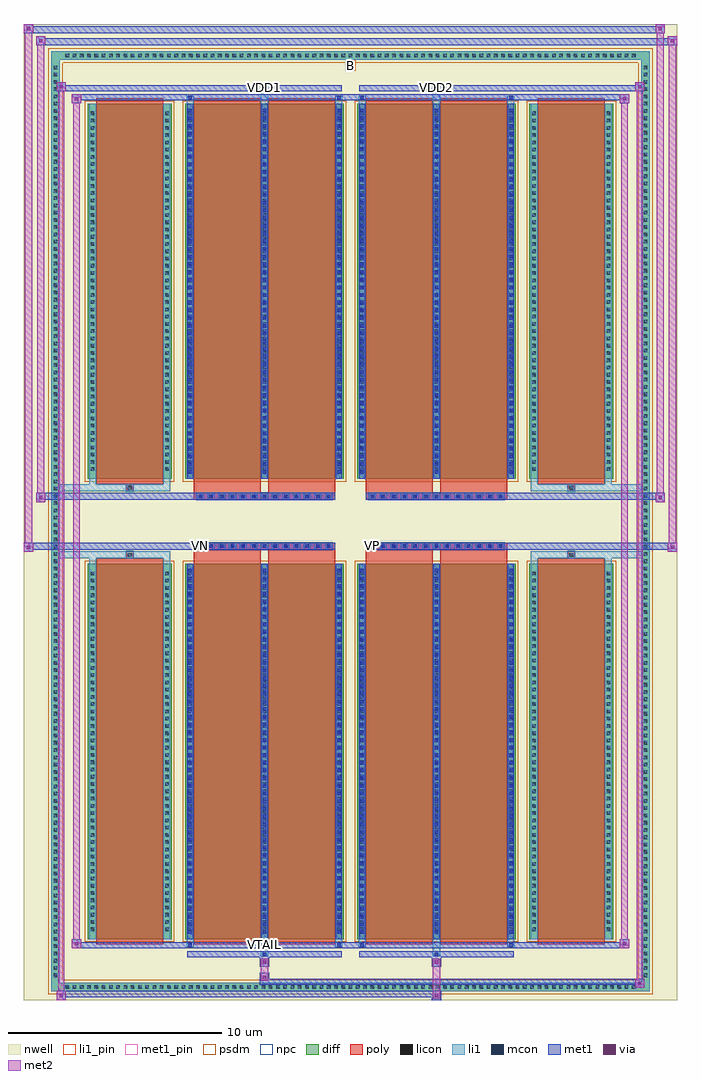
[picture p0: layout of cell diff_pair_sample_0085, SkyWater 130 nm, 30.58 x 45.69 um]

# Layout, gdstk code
import gdstk
lib = gdstk.Library(unit=1e-6, precision=5e-09)
def R(c, l, rs):  # rectangles x0, y0, x1, y1
    for r in rs: c.add(gdstk.rectangle(r[:2], r[2:], *l))
def A(c, l, x, y, w, h, nx, ny, dx, dy):  # array of equal rectangles
    R(c, l, [(x+i*dx, y+j*dy, x+i*dx+w, y+j*dy+h) for i in range(nx) for j in range(ny)])
def P(c, l, *ps):  # polygons
    for p in ps: c.add(gdstk.Polygon(p, *l))
nwell = (64, 20)
diff = (65, 20)
poly = (66, 20)
licon = (66, 44)
li1_pin = (67, 16)
li1 = (67, 20)
mcon = (67, 44)
met1_pin = (68, 16)
met1 = (68, 20)
via = (68, 44)
met2 = (69, 20)
psdm = (94, 20)
npc = (95, 20)

diff_pair_sample_0085 = lib.new_cell('diff_pair_sample_0085')
R(diff_pair_sample_0085, nwell, [(-15.29,-22.41,15.29,23.28), (-12.61,-20.6,-0.01,-0.8), (0.01,-20.6,12.61,-0.8), (-12.61,0.8,-0.01,20.6), (0.01,0.8,12.61,20.6)])
A(diff_pair_sample_0085, diff, -13.465, -22.01, 0.41, 0.41, 79, 2, 0.34, 43.61)
A(diff_pair_sample_0085, diff, -14.02, -21.455, 0.41, 0.41, 1, 126, 0, 0.34)
A(diff_pair_sample_0085, diff, 13.61, -21.455, 0.41, 0.41, 1, 126, 0, 0.34)
R(diff_pair_sample_0085, diff, [(-13.465,-22.01,13.465,-21.6), (-14.02,-21.455,-13.61,21.455), (13.61,-21.455,14.02,21.455), (-12.3,-19.555,-8.37,-1.985), (-7.73,-19.555,-0.32,-1.985), (0.32,-19.555,7.73,-1.985), (8.37,-19.555,12.3,-1.985), (-12.3,1.985,-8.37,19.555), (-7.73,1.985,-0.32,19.555), (0.32,1.985,7.73,19.555), (8.37,1.985,12.3,19.555), (-13.465,21.6,13.465,22.01)])
P(diff_pair_sample_0085, diff, [(14.02,22.01),(-14.02,22.01),(-14.02,-21.6),(-13.61,-21.6),(-13.61,21.6),(13.61,21.6),(13.61,-21.6),(-13.61,-21.6),(-14.02,-21.6),(-14.02,-22.01),(14.02,-22.01)])
A(diff_pair_sample_0085, poly, -7.19, -1.33, 0.33, 0.33, 13, 2, 0.5, 2.33)
A(diff_pair_sample_0085, poly, 0.86, -1.33, 0.33, 0.33, 13, 2, 0.5, 2.33)
R(diff_pair_sample_0085, poly, [(-11.91,-19.805,-8.76,-1.735), (-7.34,-19.805,-4.19,-1.735), (-3.86,-19.805,-0.71,-1.735), (0.71,-19.805,3.86,-1.735), (4.19,-19.805,7.34,-1.735), (8.76,-19.805,11.91,-1.735), (-10.5,-1.735,-10.17,-1.405), (-10.5,-1.735,-10.17,-1.405), (-7.34,-1.735,-4.19,-1.33), (-3.86,-1.735,-0.71,-1.33), (0.71,-1.735,3.86,-1.33), (4.19,-1.735,7.34,-1.33), (10.17,-1.735,10.5,-1.405), (10.17,-1.735,10.5,-1.405), (-7.34,-1.33,-0.71,-1), (0.71,-1.33,7.34,-1), (-7.34,1,-0.71,1.33), (0.71,1,7.34,1.33), (-7.34,1.33,-4.19,1.735), (-3.86,1.33,-0.71,1.735), (0.71,1.33,3.86,1.735), (4.19,1.33,7.34,1.735), (-10.5,1.405,-10.17,1.735), (-10.5,1.405,-10.17,1.735), (10.17,1.405,10.5,1.735), (10.17,1.405,10.5,1.735), (-11.91,1.735,-8.76,19.805), (-7.34,1.735,-4.19,19.805), (-3.86,1.735,-0.71,19.805), (0.71,1.735,3.86,19.805), (4.19,1.735,7.34,19.805), (8.76,1.735,11.91,19.805)])
A(diff_pair_sample_0085, licon, -13.345, -21.89, 0.17, 0.17, 79, 2, 0.34, 43.61)
A(diff_pair_sample_0085, licon, -13.9, -21.335, 0.17, 0.17, 1, 126, 0, 0.34)
A(diff_pair_sample_0085, licon, 13.73, -21.335, 0.17, 0.17, 1, 126, 0, 0.34)
A(diff_pair_sample_0085, licon, -12.16, -19.185, 0.17, 0.17, 1, 50, 0, 0.34)
A(diff_pair_sample_0085, licon, -8.68, -19.185, 0.17, 0.17, 1, 50, 0, 0.34)
A(diff_pair_sample_0085, licon, -7.59, -19.185, 0.17, 0.17, 3, 50, 3.48, 0.34)
A(diff_pair_sample_0085, licon, 0.46, -19.185, 0.17, 0.17, 3, 50, 3.48, 0.34)
A(diff_pair_sample_0085, licon, 8.51, -19.185, 0.17, 0.17, 1, 50, 0, 0.34)
A(diff_pair_sample_0085, licon, 11.99, -19.185, 0.17, 0.17, 1, 50, 0, 0.34)
A(diff_pair_sample_0085, licon, -7.11, -1.25, 0.17, 0.17, 13, 2, 0.5, 2.33)
A(diff_pair_sample_0085, licon, 0.94, -1.25, 0.17, 0.17, 13, 2, 0.5, 2.33)
A(diff_pair_sample_0085, licon, -12.16, 2.355, 0.17, 0.17, 1, 50, 0, 0.34)
A(diff_pair_sample_0085, licon, -8.68, 2.355, 0.17, 0.17, 1, 50, 0, 0.34)
A(diff_pair_sample_0085, licon, -7.59, 2.355, 0.17, 0.17, 3, 50, 3.48, 0.34)
A(diff_pair_sample_0085, licon, 0.46, 2.355, 0.17, 0.17, 3, 50, 3.48, 0.34)
A(diff_pair_sample_0085, licon, 8.51, 2.355, 0.17, 0.17, 1, 50, 0, 0.34)
A(diff_pair_sample_0085, licon, 11.99, 2.355, 0.17, 0.17, 1, 50, 0, 0.34)
R(diff_pair_sample_0085, licon, [(-10.42,-1.655,-10.25,-1.485), (10.25,-1.655,10.42,-1.485), (-10.42,1.485,-10.25,1.655), (10.25,1.485,10.42,1.655)])
R(diff_pair_sample_0085, li1_pin, [(-0.25,21.1,0.25,21.6)])
A(diff_pair_sample_0085, li1, -13.425, -21.97, 0.33, 0.33, 79, 2, 0.34, 43.61)
A(diff_pair_sample_0085, li1, -13.98, -21.415, 0.33, 0.33, 1, 126, 0, 0.34)
A(diff_pair_sample_0085, li1, 13.65, -21.415, 0.33, 0.33, 1, 126, 0, 0.34)
A(diff_pair_sample_0085, li1, -7.67, -19.555, 0.33, 17.57, 3, 2, 3.48, 21.54)
A(diff_pair_sample_0085, li1, 0.38, -19.555, 0.33, 17.57, 3, 2, 3.48, 21.54)
A(diff_pair_sample_0085, li1, -7.59, -19.315, 0.17, 0.17, 3, 48, 3.48, 0.36)
A(diff_pair_sample_0085, li1, -7.59, -19.315, 0.17, 17.09, 3, 2, 3.48, 21.54)
A(diff_pair_sample_0085, li1, 0.46, -19.315, 0.17, 0.17, 3, 48, 3.48, 0.36)
A(diff_pair_sample_0085, li1, 0.46, -19.315, 0.17, 17.09, 3, 2, 3.48, 21.54)
A(diff_pair_sample_0085, li1, -12.24, -19.265, 0.33, 0.33, 1, 50, 0, 0.34)
A(diff_pair_sample_0085, li1, -8.76, -19.265, 0.33, 0.33, 1, 50, 0, 0.34)
A(diff_pair_sample_0085, li1, -7.67, -19.265, 0.33, 0.33, 3, 50, 3.48, 0.34)
A(diff_pair_sample_0085, li1, 0.38, -19.265, 0.33, 0.33, 3, 50, 3.48, 0.34)
A(diff_pair_sample_0085, li1, 8.43, -19.265, 0.33, 0.33, 1, 50, 0, 0.34)
A(diff_pair_sample_0085, li1, 11.91, -19.265, 0.33, 0.33, 1, 50, 0, 0.34)
A(diff_pair_sample_0085, li1, -7.19, -1.33, 0.33, 0.33, 13, 2, 0.5, 2.33)
A(diff_pair_sample_0085, li1, 0.86, -1.33, 0.33, 0.33, 13, 2, 0.5, 2.33)
A(diff_pair_sample_0085, li1, -7.59, 2.225, 0.17, 0.17, 3, 48, 3.48, 0.36)
A(diff_pair_sample_0085, li1, 0.46, 2.225, 0.17, 0.17, 3, 48, 3.48, 0.36)
A(diff_pair_sample_0085, li1, -12.24, 2.275, 0.33, 0.33, 1, 50, 0, 0.34)
A(diff_pair_sample_0085, li1, -8.76, 2.275, 0.33, 0.33, 1, 50, 0, 0.34)
A(diff_pair_sample_0085, li1, -7.67, 2.275, 0.33, 0.33, 3, 50, 3.48, 0.34)
A(diff_pair_sample_0085, li1, 0.38, 2.275, 0.33, 0.33, 3, 50, 3.48, 0.34)
A(diff_pair_sample_0085, li1, 8.43, 2.275, 0.33, 0.33, 1, 50, 0, 0.34)
A(diff_pair_sample_0085, li1, 11.91, 2.275, 0.33, 0.33, 1, 50, 0, 0.34)
R(diff_pair_sample_0085, li1, [(-14.02,-22.01,-13.61,-21.6), (-14.02,-22.01,-13.61,-21.6), (-13.61,-22.01,13.61,-21.6), (13.61,-22.01,14.02,-21.6), (13.61,-22.01,14.02,-21.6), (-14.02,-21.6,-13.61,21.6), (13.61,-21.6,14.02,21.6), (-4.19,-20.36,-3.86,-19.555), (-4.11,-20.36,-3.94,-20.19), (3.86,-20.36,4.19,-19.555), (3.94,-20.36,4.11,-20.19), (-7.67,-19.93,-7.34,-19.555), (-7.59,-19.93,-7.42,-19.76), (-0.71,-19.93,-0.38,-19.555), (-0.63,-19.93,-0.46,-19.76), (0.38,-19.93,0.71,-19.555), (0.46,-19.93,0.63,-19.76), (7.34,-19.93,7.67,-19.555), (7.42,-19.93,7.59,-19.76), (-12.24,-19.555,-11.91,-1.985), (-8.76,-19.555,-8.43,-1.985), (8.43,-19.555,8.76,-1.985), (11.91,-19.555,12.24,-1.985), (-12.24,-1.985,-11.91,-1.405), (-8.76,-1.985,-8.43,-1.405), (8.43,-1.985,8.76,-1.405), (11.91,-1.985,12.24,-1.405), (-14.02,-1.735,-10.5,-1.405), (-12.24,-1.735,-10.5,-1.405), (-10.5,-1.735,-10.17,-1.405), (-10.17,-1.735,-8.43,-1.405), (8.43,-1.735,10.17,-1.405), (10.17,-1.735,10.5,-1.405), (10.17,-1.735,14.02,-1.405), (10.5,-1.735,12.24,-1.405), (-14.02,1.405,-10.5,1.735), (-12.24,1.405,-10.5,1.735), (-12.24,1.405,-11.91,1.985), (-10.5,1.405,-10.17,1.735), (-10.17,1.405,-8.43,1.735), (-8.76,1.405,-8.43,1.985), (8.43,1.405,10.17,1.735), (8.43,1.405,8.76,1.985), (10.17,1.405,10.5,1.735), (10.17,1.405,14.02,1.735), (10.5,1.405,12.24,1.735), (11.91,1.405,12.24,1.985), (-12.24,1.985,-11.91,19.555), (-8.76,1.985,-8.43,19.555), (8.43,1.985,8.76,19.555), (11.91,1.985,12.24,19.555), (-7.67,19.555,-7.34,19.93), (-4.19,19.555,-3.86,20.36), (-0.71,19.555,-0.38,19.93), (0.38,19.555,0.71,19.93), (3.86,19.555,4.19,20.36), (7.34,19.555,7.67,19.93), (-7.59,19.76,-7.42,19.93), (-0.63,19.76,-0.46,19.93), (0.46,19.76,0.63,19.93), (7.42,19.76,7.59,19.93), (-4.11,20.19,-3.94,20.36), (3.94,20.19,4.11,20.36), (-14.02,21.6,-13.61,22.01), (-14.02,21.6,-13.61,22.01), (-13.61,21.6,13.61,22.01), (13.61,21.6,14.02,22.01), (13.61,21.6,14.02,22.01)])
A(diff_pair_sample_0085, mcon, -7.59, -19.315, 0.17, 0.17, 3, 48, 3.48, 0.36)
A(diff_pair_sample_0085, mcon, 0.46, -19.315, 0.17, 0.17, 3, 48, 3.48, 0.36)
A(diff_pair_sample_0085, mcon, -7.11, -1.25, 0.17, 0.17, 13, 2, 0.5, 2.33)
A(diff_pair_sample_0085, mcon, 0.94, -1.25, 0.17, 0.17, 13, 2, 0.5, 2.33)
A(diff_pair_sample_0085, mcon, -7.59, 2.225, 0.17, 0.17, 3, 48, 3.48, 0.36)
A(diff_pair_sample_0085, mcon, 0.46, 2.225, 0.17, 0.17, 3, 48, 3.48, 0.36)
R(diff_pair_sample_0085, mcon, [(-4.11,-20.36,-3.94,-20.19), (3.94,-20.36,4.11,-20.19), (-7.59,-19.93,-7.42,-19.76), (-0.63,-19.93,-0.46,-19.76), (0.46,-19.93,0.63,-19.76), (7.42,-19.93,7.59,-19.76), (-7.59,19.76,-7.42,19.93), (-0.63,19.76,-0.46,19.93), (0.46,19.76,0.63,19.93), (7.42,19.76,7.59,19.93), (-4.11,20.19,-3.94,20.36), (3.94,20.19,4.11,20.36)])
R(diff_pair_sample_0085, met1_pin, [(-4.16,-19.97,-3.89,-19.7), (-7.16,-1.29,-6.89,-1.02), (0.89,-1.29,1.16,-1.02), (-4.16,20.15,-3.89,20.42), (3.89,20.15,4.16,20.42)])
A(diff_pair_sample_0085, met1, -7.65, -19.555, 0.29, 17.57, 3, 2, 3.48, 21.54)
A(diff_pair_sample_0085, met1, 0.4, -19.555, 0.29, 17.57, 3, 2, 3.48, 21.54)
A(diff_pair_sample_0085, met1, -7.65, -19.375, 0.29, 0.29, 3, 48, 3.48, 0.36)
A(diff_pair_sample_0085, met1, 0.4, -19.375, 0.29, 0.29, 3, 48, 3.48, 0.36)
A(diff_pair_sample_0085, met1, -7.17, -1.31, 0.29, 0.29, 13, 2, 0.5, 2.33)
A(diff_pair_sample_0085, met1, 0.88, -1.31, 0.29, 0.29, 13, 2, 0.5, 2.33)
A(diff_pair_sample_0085, met1, -7.65, 2.165, 0.29, 0.29, 3, 48, 3.48, 0.36)
A(diff_pair_sample_0085, met1, 0.4, 2.165, 0.29, 0.29, 3, 48, 3.48, 0.36)
R(diff_pair_sample_0085, met1, [(-13.75,-22.41,-13.32,-21.98), (3.81,-22.41,4.24,-21.98), (-13.75,-22.27,4.24,-21.98), (13.32,-21.84,13.75,-21.41), (-4.24,-21.7,13.75,-21.41), (-4.24,-21.56,-3.81,-21.13), (-4.24,-20.85,-3.81,-20.42), (3.81,-20.85,4.24,-20.42), (-7.65,-20.42,-0.4,-20.13), (-4.17,-20.42,-3.88,-20.13), (0.4,-20.42,7.65,-20.13), (3.88,-20.42,4.17,-20.13), (-13.04,-19.99,-12.61,-19.56), (-13.04,-19.99,-7.65,-19.7), (-7.65,-19.99,-7.36,-19.7), (-7.65,-19.99,-0.4,-19.7), (-0.69,-19.99,-0.4,-19.7), (-0.4,-19.99,0.4,-19.7), (0.4,-19.99,0.69,-19.7), (0.4,-19.99,7.65,-19.7), (7.36,-19.99,7.65,-19.7), (7.65,-19.99,13.04,-19.7), (12.61,-19.99,13.04,-19.56), (-15.29,-1.43,-14.86,-1), (14.86,-1.43,15.29,-1), (-15.29,-1.33,-0.71,-1), (-7.34,-1.33,-0.71,-1), (0.71,-1.33,7.34,-1), (0.71,-1.33,15.29,-1), (-14.72,0.9,-14.29,1.33), (14.29,0.9,14.72,1.33), (-14.72,1,-7.34,1.33), (-7.34,1,-0.71,1.33), (0.71,1,7.34,1.33), (7.34,1,14.72,1.33), (-13.04,19.56,-12.61,19.99), (12.61,19.56,13.04,19.99), (-13.04,19.7,-7.65,19.99), (-7.65,19.7,-7.36,19.99), (-7.65,19.7,-0.4,19.99), (-0.69,19.7,-0.4,19.99), (-0.4,19.7,0.4,19.99), (0.4,19.7,0.69,19.99), (0.4,19.7,7.65,19.99), (7.36,19.7,7.65,19.99), (7.65,19.7,13.04,19.99), (-13.75,20.13,-13.32,20.56), (-13.75,20.13,-7.65,20.42), (-7.65,20.13,-0.4,20.42), (-4.17,20.13,-3.88,20.42), (0.4,20.13,7.65,20.42), (3.88,20.13,4.17,20.42), (7.65,20.13,13.75,20.42), (13.32,20.13,13.75,20.56), (-14.72,22.28,-14.29,22.71), (-14.72,22.28,-12.61,22.61), (-12.61,22.28,12.61,22.61), (12.61,22.28,15.29,22.61), (14.86,22.28,15.29,22.71), (-15.29,22.85,-14.86,23.28), (-15.29,22.85,-12.61,23.18), (-12.61,22.85,12.61,23.18), (12.61,22.85,14.72,23.18), (14.29,22.85,14.72,23.28)])
R(diff_pair_sample_0085, via, [(-13.61,-22.27,-13.46,-22.12), (3.95,-22.27,4.1,-22.12), (13.46,-21.7,13.61,-21.55), (-4.1,-21.42,-3.95,-21.27), (-4.1,-20.71,-3.95,-20.56), (3.95,-20.71,4.1,-20.56), (-12.9,-19.85,-12.75,-19.7), (12.75,-19.85,12.9,-19.7), (-15.15,-1.29,-15,-1.14), (15,-1.29,15.15,-1.14), (-14.58,1.04,-14.43,1.19), (14.43,1.04,14.58,1.19), (-12.9,19.7,-12.75,19.85), (12.75,19.7,12.9,19.85), (-13.61,20.27,-13.46,20.42), (13.46,20.27,13.61,20.42), (-14.58,22.42,-14.43,22.57), (15,22.42,15.15,22.57), (-15.15,22.99,-15,23.14), (14.43,22.99,14.58,23.14)])
R(diff_pair_sample_0085, met2, [(-13.75,-22.41,-13.32,-21.98), (-13.68,-22.41,-13.39,20.56), (-13.39,-22.41,-13.32,-21.98), (-13.7,-22.36,-13.37,-22.03), (3.86,-22.36,4.19,-22.03), (3.86,-22.03,4.19,-20.8), (13.32,-21.84,13.75,-21.41), (13.39,-21.84,13.68,20.56), (13.68,-21.84,13.75,-21.41), (13.37,-21.79,13.7,-21.46), (-4.19,-21.51,-3.86,-21.18), (-4.19,-21.18,-3.86,-20.8), (-4.19,-20.8,-3.86,-20.47), (3.86,-20.8,4.19,-20.47), (-13.04,-19.99,-12.61,-19.56), (-12.97,-19.99,-12.68,19.99), (-12.68,-19.99,-12.61,-19.56), (12.61,-19.99,13.04,-19.56), (12.68,-19.99,12.97,19.99), (12.97,-19.99,13.04,-19.56), (-12.99,-19.94,-12.66,-19.61), (12.66,-19.94,12.99,-19.61), (-15.29,-1.43,-14.86,-1), (-15.24,-1.43,-14.91,23.28), (-14.91,-1.43,-14.86,-1), (14.86,-1.43,15.29,-1), (14.91,-1.43,15.24,22.71), (15.24,-1.43,15.29,-1), (-15.24,-1.38,-14.91,-1.05), (14.91,-1.38,15.24,-1.05), (-14.72,0.9,-14.29,1.33), (-14.67,0.9,-14.34,22.71), (-14.34,0.9,-14.29,1.33), (14.29,0.9,14.72,1.33), (14.34,0.9,14.67,23.28), (14.67,0.9,14.72,1.33), (-14.67,0.95,-14.34,1.28), (14.34,0.95,14.67,1.28), (-13.04,19.56,-12.61,19.99), (-12.68,19.56,-12.61,19.99), (12.61,19.56,13.04,19.99), (12.97,19.56,13.04,19.99), (-12.99,19.61,-12.66,19.94), (12.66,19.61,12.99,19.94), (-13.75,20.13,-13.32,20.56), (-13.39,20.13,-13.32,20.56), (13.32,20.13,13.75,20.56), (13.68,20.13,13.75,20.56), (-13.7,20.18,-13.37,20.51), (13.37,20.18,13.7,20.51), (-14.72,22.28,-14.29,22.71), (-14.34,22.28,-14.29,22.71), (14.86,22.28,15.29,22.71), (15.24,22.28,15.29,22.71), (-14.67,22.33,-14.34,22.66), (14.91,22.33,15.24,22.66), (-15.29,22.85,-14.86,23.28), (-14.91,22.85,-14.86,23.28), (14.29,22.85,14.72,23.28), (14.67,22.85,14.72,23.28), (-15.24,22.9,-14.91,23.23), (14.34,22.9,14.67,23.23)])
R(diff_pair_sample_0085, psdm, [(-12.43,-19.685,-8.24,-1.855), (-7.86,-19.685,-0.19,-1.855), (0.19,-19.685,7.86,-1.855), (8.24,-19.685,12.43,-1.855), (-12.43,1.855,-8.24,19.685), (-7.86,1.855,-0.19,19.685), (0.19,1.855,7.86,19.685), (8.24,1.855,12.43,19.685)])
P(diff_pair_sample_0085, psdm, [(14.15,22.14),(-14.15,22.14),(-14.15,-21.47),(-13.48,-21.47),(-13.48,21.47),(13.48,21.47),(13.48,-21.47),(-13.48,-21.47),(-14.15,-21.47),(-14.15,-22.14),(14.15,-22.14)])
A(diff_pair_sample_0085, npc, -7.21, -1.35, 0.37, 0.37, 13, 2, 0.5, 2.33)
A(diff_pair_sample_0085, npc, 0.84, -1.35, 0.37, 0.37, 13, 2, 0.5, 2.33)
R(diff_pair_sample_0085, npc, [(-10.52,-1.755,-10.15,-1.385), (10.15,-1.755,10.52,-1.385), (-7.21,-1.35,-6.34,-0.98), (-7.21,-1.35,-6.34,-0.98), (-6.71,-1.35,-5.84,-0.98), (-6.71,-1.35,-5.84,-0.98), (-6.21,-1.35,-5.34,-0.98), (-6.21,-1.35,-5.34,-0.98), (-5.71,-1.35,-4.84,-0.98), (-5.71,-1.35,-4.84,-0.98), (-5.21,-1.35,-4.34,-0.98), (-5.21,-1.35,-4.34,-0.98), (-4.71,-1.35,-3.84,-0.98), (-4.71,-1.35,-3.84,-0.98), (-4.21,-1.35,-3.34,-0.98), (-4.21,-1.35,-3.34,-0.98), (-3.71,-1.35,-2.84,-0.98), (-3.71,-1.35,-2.84,-0.98), (-3.21,-1.35,-2.34,-0.98), (-3.21,-1.35,-2.34,-0.98), (-2.71,-1.35,-1.84,-0.98), (-2.71,-1.35,-1.84,-0.98), (-2.21,-1.35,-1.34,-0.98), (-2.21,-1.35,-1.34,-0.98), (-1.71,-1.35,-0.84,-0.98), (-1.71,-1.35,-0.84,-0.98), (0.84,-1.35,1.71,-0.98), (0.84,-1.35,1.71,-0.98), (1.34,-1.35,2.21,-0.98), (1.34,-1.35,2.21,-0.98), (1.84,-1.35,2.71,-0.98), (1.84,-1.35,2.71,-0.98), (2.34,-1.35,3.21,-0.98), (2.34,-1.35,3.21,-0.98), (2.84,-1.35,3.71,-0.98), (2.84,-1.35,3.71,-0.98), (3.34,-1.35,4.21,-0.98), (3.34,-1.35,4.21,-0.98), (3.84,-1.35,4.71,-0.98), (3.84,-1.35,4.71,-0.98), (4.34,-1.35,5.21,-0.98), (4.34,-1.35,5.21,-0.98), (4.84,-1.35,5.71,-0.98), (4.84,-1.35,5.71,-0.98), (5.34,-1.35,6.21,-0.98), (5.34,-1.35,6.21,-0.98), (5.84,-1.35,6.71,-0.98), (5.84,-1.35,6.71,-0.98), (6.34,-1.35,7.21,-0.98), (6.34,-1.35,7.21,-0.98), (-7.21,0.98,-6.34,1.35), (-7.21,0.98,-6.34,1.35), (-6.71,0.98,-5.84,1.35), (-6.71,0.98,-5.84,1.35), (-6.21,0.98,-5.34,1.35), (-6.21,0.98,-5.34,1.35), (-5.71,0.98,-4.84,1.35), (-5.71,0.98,-4.84,1.35), (-5.21,0.98,-4.34,1.35), (-5.21,0.98,-4.34,1.35), (-4.71,0.98,-3.84,1.35), (-4.71,0.98,-3.84,1.35), (-4.21,0.98,-3.34,1.35), (-4.21,0.98,-3.34,1.35), (-3.71,0.98,-2.84,1.35), (-3.71,0.98,-2.84,1.35), (-3.21,0.98,-2.34,1.35), (-3.21,0.98,-2.34,1.35), (-2.71,0.98,-1.84,1.35), (-2.71,0.98,-1.84,1.35), (-2.21,0.98,-1.34,1.35), (-2.21,0.98,-1.34,1.35), (-1.71,0.98,-0.84,1.35), (-1.71,0.98,-0.84,1.35), (0.84,0.98,1.71,1.35), (0.84,0.98,1.71,1.35), (1.34,0.98,2.21,1.35), (1.34,0.98,2.21,1.35), (1.84,0.98,2.71,1.35), (1.84,0.98,2.71,1.35), (2.34,0.98,3.21,1.35), (2.34,0.98,3.21,1.35), (2.84,0.98,3.71,1.35), (2.84,0.98,3.71,1.35), (3.34,0.98,4.21,1.35), (3.34,0.98,4.21,1.35), (3.84,0.98,4.71,1.35), (3.84,0.98,4.71,1.35), (4.34,0.98,5.21,1.35), (4.34,0.98,5.21,1.35), (4.84,0.98,5.71,1.35), (4.84,0.98,5.71,1.35), (5.34,0.98,6.21,1.35), (5.34,0.98,6.21,1.35), (5.84,0.98,6.71,1.35), (5.84,0.98,6.71,1.35), (6.34,0.98,7.21,1.35), (6.34,0.98,7.21,1.35), (-10.52,1.385,-10.15,1.755), (10.15,1.385,10.52,1.755)])
diff_pair_sample_0085.add(gdstk.Label('VTAIL', (-4.025,-19.835), layer=68, texttype=5))
diff_pair_sample_0085.add(gdstk.Label('VN', (-7.025,-1.155), layer=68, texttype=5))
diff_pair_sample_0085.add(gdstk.Label('VP', (1.025,-1.155), layer=68, texttype=5))
diff_pair_sample_0085.add(gdstk.Label('B', (0,21.35), layer=67, texttype=5))
diff_pair_sample_0085.add(gdstk.Label('VDD2', (4.025,20.285), layer=68, texttype=5))
diff_pair_sample_0085.add(gdstk.Label('VDD1', (-4.025,20.285), layer=68, texttype=5))

lib.write_gds('diff_pair_sample_0085.gds')
